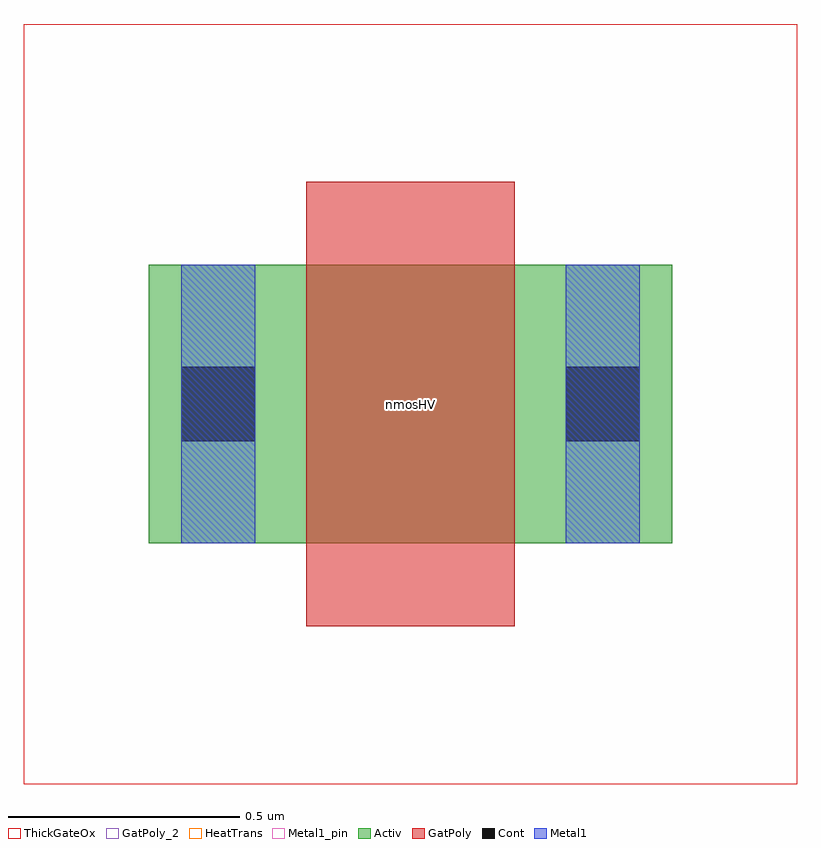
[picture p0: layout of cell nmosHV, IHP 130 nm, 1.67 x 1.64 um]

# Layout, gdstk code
import gdstk
lib = gdstk.Library(unit=1e-6, precision=1e-09)
def R(c, l, rs):  # rectangles x0, y0, x1, y1
    for r in rs: c.add(gdstk.rectangle(r[:2], r[2:], *l))
Activ = (1, 0)
GatPoly = (5, 0)
GatPoly_2 = (5, 2)
Cont = (6, 0)
Metal1 = (8, 0)
Metal1_pin = (8, 2)
ThickGateOx = (44, 0)
HeatTrans = (51, 0)

nmoshv = lib.new_cell('nmosHV')
R(nmoshv, Activ, [(0,0,0.3,0.3), (0,0,1.13,0.6), (0.83,0,1.13,0.3)])
R(nmoshv, GatPoly, [(0.34,-0.18,0.79,0.78)])
R(nmoshv, GatPoly_2, [(0.34,-0.18,0.79,0.78)])
R(nmoshv, Cont, [(0.07,0.22,0.23,0.38), (0.9,0.22,1.06,0.38)])
R(nmoshv, Metal1, [(0.07,0,0.23,0.6), (0.9,0,1.06,0.6)])
R(nmoshv, Metal1_pin, [(0.07,0,0.23,0.6), (0.9,0,1.06,0.6)])
R(nmoshv, ThickGateOx, [(-0.27,-0.52,1.4,1.12)])
R(nmoshv, HeatTrans, [(0.34,-0.18,0.79,0.78)])
nmoshv.add(gdstk.Label('nmosHV', (0.565,0.3), layer=63, texttype=0))
nmoshv.add(gdstk.Label('nmosHV', (0.565,0.3), layer=51, texttype=0))

lib.write_gds('nmosHV.gds')
